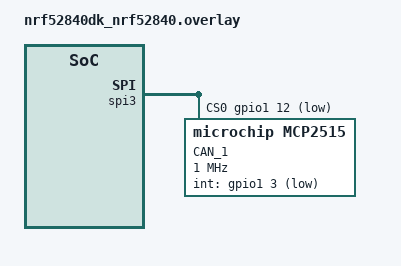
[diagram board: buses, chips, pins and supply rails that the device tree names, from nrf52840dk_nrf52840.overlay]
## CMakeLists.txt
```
#
# Copyright (c) 2019 Nordic Semiconductor ASA
#
# SPDX-License-Identifier: LicenseRef-BSD-5-Clause-Nordic
#
cmake_minimum_required(VERSION 3.8.2)

#Board selection
#set(BOARD nrf52840dk_nrf52840)
#set(BOARD nrf5340pdk_nrf5340_cpunet)
#set(BOARD nrf5340pdk_nrf5340_cpuapp)
set(BOARD nrf52840dongle_nrf52840)
#set(BOARD nrf52840dk_nrf52811)

find_package(Zephyr REQUIRED HINTS $ENV{ZEPHYR_BASE})
project(NONE)

# Include all files in folder src
FILE(GLOB app_sources_c src/*.c)
FILE(GLOB app_sources_cpp src/*.cpp)

target_sources(app PRIVATE
	${app_sources_c}
	${app_sources_cpp})
target_include_directories(app PRIVATE include)
```

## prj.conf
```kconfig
#
# Copyright (c) 2019 Nordic Semiconductor ASA
#
# SPDX-License-Identifier: LicenseRef-BSD-5-Clause-Nordic
#
CONFIG_NCS_SAMPLES_DEFAULTS=y

# General configuration
CONFIG_SYSTEM_WORKQUEUE_STACK_SIZE=4096
CONFIG_FLASH=y
CONFIG_FLASH_MAP=y
#CONFIG_FCB=y
CONFIG_NVS=y
CONFIG_SETTINGS=y
CONFIG_HWINFO=y
CONFIG_LOG=y
CONFIG_LOG_PRINTK=y

CONFIG_DK_LIBRARY=y
CONFIG_BT_MESH_DK_PROV=y

# Bluetooth configuration
CONFIG_BT=y
CONFIG_BT_COMPANY_ID=0x0059
CONFIG_BT_DEVICE_NAME="LWA203_Server"
CONFIG_BT_L2CAP_RX_MTU=69
CONFIG_BT_L2CAP_TX_MTU=69
CONFIG_BT_L2CAP_TX_BUF_COUNT=8
CONFIG_BT_LL_SW_SPLIT=y
CONFIG_BT_OBSERVER=y
CONFIG_BT_PERIPHERAL=y
CONFIG_BT_SETTINGS=y
CONFIG_BT_MAX_CONN=3

# Disable unused Bluetooth features
CONFIG_BT_CTLR_DUP_FILTER_LEN=0
CONFIG_BT_CTLR_LE_ENC=n
CONFIG_BT_DATA_LEN_UPDATE=n
CONFIG_BT_PHY_UPDATE=n
CONFIG_BT_CTLR_CHAN_SEL_2=n
CONFIG_BT_CTLR_MIN_USED_CHAN=n
CONFIG_BT_CTLR_PRIVACY=n

# Bluetooth Mesh configuration
CONFIG_BT_MESH=y
CONFIG_BT_MESH_RELAY=y
CONFIG_BT_MESH_FRIEND=y
CONFIG_BT_MESH_LOW_POWER=n
CONFIG_BT_MESH_LPN_AUTO=n
CONFIG_BT_MESH_LPN_AUTO_TIMEOUT=5
CONFIG_BT_MESH_ADV_BUF_COUNT=13
# Set it Higher because ca. 64 Properties send Segmented
CONFIG_BT_MESH_TX_SEG_MAX=12
CONFIG_BT_MESH_PB_GATT=y
CONFIG_BT_MESH_GATT_PROXY=y

# Bluetooth Mesh models
CONFIG_BT_MESH_SENSOR_SRV=y
CONFIG_BT_MESH_PROP_SRV=y
CONFIG_BT_MESH_PROP_MAXCOUNT=64
CONFIG_BT_MESH_PROP_MAXSIZE=8

# Enable SPI
CONFIG_SPI=y
CONFIG_SPI_INIT_PRIORITY=70
#CONFIG_SPI_LOG_LEVEL_INF=y
#CONFIG_SPI_3=y
#CONFIG_SPI_NRFX=y

#Enable MCP2515
CONFIG_CAN=y
CONFIG_CAN_LOG_LEVEL_INF=y
CONFIG_CAN_INIT_PRIORITY=80
#CONFIG_CAN_WORKQ_FRAMES_BUF_CNT=4
CONFIG_CAN_MCP2515=y
#CONFIG_CAN_MCP2515_INT_THREAD_STACK_SIZE=2048
#CONFIG_CAN_MCP2515_INT_THREAD_PRIO=2
#CONFIG_CAN_MCP2515_INIT_PRIORITY=80



# For NRF Dongle over SWD Flashing
CONFIG_BOARD_HAS_NRF5_BOOTLOADER=y
CONFIG_SERIAL=y
CONFIG_UART_CONSOLE=y
CONFIG_LOG_BACKEND_UART=y

# I2C SHT3xd Sensor
#CONFIG_STDOUT_CONSOLE=y
#CONFIG_I2C=y
CONFIG_NEWLIB_LIBC=y
CONFIG_NEWLIB_LIBC_FLOAT_PRINTF=y
#CONFIG_SENSOR=y
#CONFIG_SHT3XD=y

# Power Managment Device
#CONFIG_PM=y
#CONFIG_PM_DEEP_SLEEP_STATES=y
#CONFIG_PM_STATE_LOCK=y
#CONFIG_SERIAL=n
```

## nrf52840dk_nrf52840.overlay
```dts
&spi3 {
	status = "okay";
	cs-gpios = <&gpio1 12 GPIO_ACTIVE_LOW>; /* 1.12 */

	can1: mcp2515@0 {
		compatible = "microchip,mcp2515";
		spi-max-frequency = <1000000>;
		int-gpios = <&gpio1 3 GPIO_ACTIVE_LOW>; /* 1.03 */
		status = "okay";
		label = "CAN_1";
		reg = <0x0>;
		osc-freq = <8000000>;
		bus-speed = <20000>;
		sjw = <1>;
		prop-seg = <8>;
		phase-seg1 = <8>;
		phase-seg2 = <8>;
		#address-cells = <1>;
		#size-cells = <0>;
	};
};

/ {
	aliases {
		can-primary = &can1;
	};
};
```

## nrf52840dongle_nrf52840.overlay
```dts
&spi1 {

	sck-pin = <47>;
	mosi-pin = <2>;
	miso-pin = <29>;

	status = "okay";
	cs-gpios = <&gpio0 31 GPIO_ACTIVE_LOW>; /* 0.31 */

	can1: mcp2515@0 {
		compatible = "microchip,mcp2515";
		spi-max-frequency = <1000000>;
		int-gpios = <&gpio1 13 GPIO_ACTIVE_LOW>; /* 1.13 */
		status = "okay";
		label = "CAN_1";
		reg = <0x0>;
		osc-freq = <8000000>;
		bus-speed = <20000>;
		sjw = <1>;
		prop-seg = <8>;
		phase-seg1 = <8>;
		phase-seg2 = <8>;
		#address-cells = <1>;
		#size-cells = <0>;
	};
};

/ {
	aliases {
		can-primary = &can1;
	};
};
```

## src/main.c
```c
#include "bm_config.h"
#include "bm_blemesh.h"
#include "bm_simple_buttons_and_leds.h"
#include <zephyr.h>

/**@brief Function for application main entry.
 */
void main(void) {
  // Start Application
  printk("Starting Application...\n");
  // Init MAC Address
  uint32_t LSB_MAC_Address = NRF_FICR->DEVICEADDR[0];
  printk("Preprogrammed Randomly Static MAC-Address (LSB): 0x%x, %u \n", LSB_MAC_Address, LSB_MAC_Address);
  /* --------------- Init Board ------------*/
	printk("Init Buttons and LEDs...\n");
	bm_init_leds();
	printk("Buttons and LEDs initialized\n");



	/* ===================================*/

  // Start Mesh Operation
  bm_blemesh_enable(); // Will return faster than the Stack is realy ready... keep on waiting in the transition.

  bm_led0_set(true);

  k_sleep(K_MSEC(500));

  bm_led0_set(false);




}
```

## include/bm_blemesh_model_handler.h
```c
/*
This file is part of Bluetooth-Benchamrk.

Bluetooth-Benchamrk is free software: you can redistribute it and/or modify
it under the terms of the GNU General Public License as published by
the Free Software Foundation, either version 3 of the License, or
(at your option) any later version.

Bluetooth-Benchamrk is distributed in the hope that it will be useful,
but WITHOUT ANY WARRANTY; without even the implied warranty of
MERCHANTABILITY or FITNESS FOR A PARTICULAR PURPOSE.  See the
GNU General Public License for more details.

You should have received a copy of the GNU General Public License
along with Bluetooth-Benchamrk.  If not, see <http://www.gnu.org/licenses/>.
*/

/* AUTHOR 	 :    Raffael Anklin       */

#ifndef MODEL_HANDLER_H__
#define MODEL_HANDLER_H__

#include "bm_config.h"

#ifdef __cplusplus
extern "C" {
#endif



const struct bt_mesh_comp *bm_blemesh_model_handler_init(void);

void bm_can_init(void);


#ifdef __cplusplus
}
#endif

#endif /* MODEL_HANDLER_H__ */
```

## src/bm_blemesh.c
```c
/*
This file is part of Bluetooth-Benchamrk.

Bluetooth-Benchamrk is free software: you can redistribute it and/or modify
it under the terms of the GNU General Public License as published by
the Free Software Foundation, either version 3 of the License, or
(at your option) any later version.

Bluetooth-Benchamrk is distributed in the hope that it will be useful,
but WITHOUT ANY WARRANTY; without even the implied warranty of
MERCHANTABILITY or FITNESS FOR A PARTICULAR PURPOSE.  See the
GNU General Public License for more details.

You should have received a copy of the GNU General Public License
along with Bluetooth-Benchamrk.  If not, see <http://www.gnu.org/licenses/>.
*/

/* AUTHOR 	 :    Raffael Anklin       */

/* Pin Assigments: 

| Port.Pin 	| Description
|	P0.26	|	SCL I2C SHT3xd
|	P0.27	|	SDA I2C SHT3xd

*/


#include "bm_config.h"
#include <bluetooth/bluetooth.h>
#include <bluetooth/mesh/models.h>
#include <drivers/hwinfo.h>
#include "bm_blemesh_model_handler.h"
#include "bm_blemesh.h"
#include <bluetooth/mesh/main.h>
#include "bm_simple_buttons_and_leds.h"



static bool initialized=false; // Flag if the Stack is initialized

static void prov_complete(uint16_t net_idx, uint16_t src)
{
	printk("Prov complete! Addr: 0x%04x\n", src);
}

static void prov_reset(void)
{
	bt_mesh_prov_enable(BT_MESH_PROV_ADV | BT_MESH_PROV_GATT);
}

static int input(bt_mesh_input_action_t act, uint8_t size)
{
	printk("Press a button to set the right number.");
	return 0;
}

static void input_complete(void)
{
	printk("Input Complete");
}

static int output_number(bt_mesh_output_action_t action, uint32_t number)
{
	if (action == BT_MESH_DISPLAY_NUMBER) {
		printk("OOB Number: %u\n", number);
		return 0;
	}

	if (action == BT_MESH_BLINK) {
		printk("Blinking %u times", number);
		return 0;
	}

	return -ENOTSUP;
}

static int output_string(const char *string)
{
	printk("OOB String: %s\n", string);
	return 0;
}

static uint8_t dev_uuid[16];

static struct bt_mesh_prov prov = {
	.uuid = dev_uuid,
	.output_size = 1,
	.output_actions = (0),
	.output_number = output_number,
	.output_string = output_string,
	.input_size = 1,
	.input = input,
	.complete = prov_complete,
	.input_complete = input_complete,
	.reset = prov_reset
	};

// Init the rest while Bluetooth is enabled
static void bt_ready(int err){

	/* --------------- Init Mesh ------------*/
	printk("Init Mesh...\n");
	
	hwinfo_get_device_id(dev_uuid, sizeof(dev_uuid));
	// Do catch for nrf53 -> no HWINFO set (0xFFFF)
	if (dev_uuid[0] == 0xFF && dev_uuid[1] == 0xFF && dev_uuid[5] == 0xFF){
		uint8_t *p0 = (uint8_t*)&NRF_FICR->DEVICEADDR[0]; // Use MAC Address for UUID
		dev_uuid[0] = p0[0];
		dev_uuid[1] = p0[1];
		dev_uuid[2] = p0[2];
		dev_uuid[3] = p0[3];
		uint8_t *p1 = (uint8_t*)&NRF_FICR->DEVICEADDR[1]; // Use MAC Address for UUID
		dev_uuid[4] = p1[0];
		dev_uuid[5] = p1[1];
	}

	err = bt_mesh_init(&prov, bm_blemesh_model_handler_init());
	if (err)
	{
		printk("Initializing mesh failed (err %d)\n", err);
		return;
	}
	printk("Mesh initialized\n");
	/* ===================================*/

	/* ------------- Provisioning ------------*/
	printk("Provisioning...\n");
	if (IS_ENABLED(CONFIG_SETTINGS))
	{
		settings_load();
	}
	/* 
	err = bt_mesh_provision(net_key, net_idx, flags, iv_index, addr,
							dev_key);
	*/
	/* This will be a no-op if settings_load() loaded provisioning info */
	err = bt_mesh_prov_enable(BT_MESH_PROV_ADV | BT_MESH_PROV_GATT);
	if (err == -EALREADY)
	{
		printk("Already Provisioned (Restored Settings)\n");
	}
	else if (err)
	{
		printk("Provisioning failed (err %d)\n", err);
		return;
	}
	else
	{
		printk("Provisioning completed\n");
	}
	/* ===================================*/

	initialized = true;
}

void bm_blemesh_enable(void)
{
	int err;



	/* ---------- Init Bluetooth ---------- */
	printk("Enabling Bluetooth...\n");
	err = bt_enable(bt_ready);
	while (initialized == false){
		k_sleep(K_MSEC(10));
	}
	if (err)
	{
		printk("Bluetooth init failed (err %d)\n", err);
		return;
	} 
	printk("Bluetooth initialized\n");
	/* =====================================*/

	
	//bm_sleep(bm_rand_32 % 5000); // Sleep Random Time for LPN Activation
	/*
	bt_mesh_cfg_friend_set(net_idx,addr,false,&stat);
	printk("Err Code: %d\n", stat);
	bt_mesh_lpn_set(true); // Enable Low Power Node
	*/	
	printk("Configuring done\n");

	//bt_mesh_lpn_set(true); // Enable Low Power Node

	//bm_led0_set(true); // Signal that the Configuring was sucessfull
	/* ===================================*/	

	bm_can_init();

	//bt_mesh_reset();
}
```

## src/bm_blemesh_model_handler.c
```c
/*
This file is part of Bluetooth-Benchamrk.

Bluetooth-Benchamrk is free software: you can redistribute it and/or modify
it under the terms of the GNU General Public License as published by
the Free Software Foundation, either version 3 of the License, or
(at your option) any later version.

Bluetooth-Benchamrk is distributed in the hope that it will be useful,
but WITHOUT ANY WARRANTY; without even the implied warranty of
MERCHANTABILITY or FITNESS FOR A PARTICULAR PURPOSE.  See the
GNU General Public License for more details.

You should have received a copy of the GNU General Public License
along with Bluetooth-Benchamrk.  If not, see <http://www.gnu.org/licenses/>.
*/

/* AUTHOR 	 :    Raffael Anklin       */

/* Pin Assigments: 

| Port.Pin 	| Description
|	P1.10	|	Switch ON/OFF
|	P1.13	|	Signal from Host (1=ON/0=OFF)
|	P1.15	|	Switch Pulse from Host (1s High for Active Switching)

*/

#include "bm_config.h"
#include "bm_simple_buttons_and_leds.h"
#include "bm_blemesh.h"
#include "bm_blemesh_model_handler.h"

#include <bluetooth/bluetooth.h>
#include <bluetooth/mesh/models.h>
#include <bluetooth/mesh/model_types.h>

#include <device.h>
#include <drivers/can.h>

#include <stdio.h>

const struct device *can_dev;
struct can_timing timing;
int filter_id;
struct bt_mesh_prop_val *buf_prop_val;

const struct zcan_filter my_filter = {
	.id_type = CAN_STANDARD_IDENTIFIER,
	.rtr = CAN_DATAFRAME,
	.id = 0x0, // REceive All
	.rtr_mask = 1,
	.id_mask = 0x0 //Receive all
};

K_SEM_DEFINE(prop_get_sem, 0, 1);
K_SEM_DEFINE(prop_set_sem, 0, 1);

/** Health Server definition */
static void attention_on(struct bt_mesh_model *model)
{
	printk("attention_on()\n");
}

static void attention_off(struct bt_mesh_model *model)
{
	printk("attention_off()\n");
}
static const struct bt_mesh_health_srv_cb health_srv_cb = {
	.attn_on = attention_on,
	.attn_off = attention_off,
};

static struct bt_mesh_health_srv health_srv = {
	.cb = &health_srv_cb,
};

BT_MESH_HEALTH_PUB_DEFINE(health_pub, 0);

/* -------------------- CAN Stuff --------------------------------------- */

void state_change_callback_function(enum can_state state, struct can_bus_err_cnt err_cnt)
{
	printk("State Change ISR\nstate: %u\n"
		   "rx error count: %d\n"
		   "tx error count: %d\n",
		   state,
		   err_cnt.rx_err_cnt, err_cnt.tx_err_cnt);
	if (state == CAN_ERROR_ACTIVE)
	{
		bm_led1_set(false);
	} else {
		bm_led1_set(true);
	}
	
}

/* -------------------- CAN Receive Stuff --------------------------------------- */

void rx_callback_function(struct zcan_frame *frame, void *arg)
{

	//struct bt_mesh_prop_val *prop_val = arg;

	/*
	printk("%02x ", frame->id);
	printk("%02x ", frame->data[0]);
	printk("%02x ", frame->data[1]);
	printk("%02x ", frame->data[2]);
	printk("%02x ", frame->data[3]);
	printk("%02x ", frame->data[4]);
	printk("%02x ", frame->data[5]);
	printk("%02x\n", frame->data[6]);
	*/

	uint16_t id = frame->data[4] | (frame->data[3] << 8);

	if (buf_prop_val->meta.id == id)
	{
		buf_prop_val->value[0] = frame->data[6];
		buf_prop_val->value[1] = frame->data[5];
	}
}

/* -------------------- CAN SEND Stuff --------------------------------------- */

void tx_irq_callback(uint32_t error_flags, void *arg)
{
	char *sender = (char *)arg;

	if (error_flags)
	{
		printk("Sendig failed [%d]\nSender: %s\n", error_flags, sender);
	}

	printk("Sent :)\n");
}

void get_elsterid_canbus(struct bt_mesh_prop_val *prop_val)
{
	// Wait until CAN Bus is Free
	bm_led3_set(true);
	if(k_sem_take(&prop_get_sem, K_MSEC(1500)) != 0){
		k_sem_reset(&prop_get_sem);
	}

	struct zcan_frame frame = {
		.id_type = CAN_STANDARD_IDENTIFIER,
		.rtr = CAN_DATAFRAME,
		.id = 0x680,
		.dlc = 5};

	frame.data[0] = 0x31;
	frame.data[1] = 0x0;
	frame.data[2] = 0xFA;
	frame.data[3] = (uint8_t)(prop_val->meta.id >> 8);
	frame.data[4] = (uint8_t)prop_val->meta.id & 0xff;

	// Setting the Pointer to the correct Buffer Value
	buf_prop_val = prop_val;

	printk("Sending...\n");	
	
	can_send(can_dev, &frame, K_MSEC(1000), NULL, NULL);
	// Wait until CAN Bus Received Value
	k_sleep(K_MSEC(1000));
	k_sem_give(&prop_get_sem);
	bm_led3_set(false);
}

void set_elsterid_canbus(struct bt_mesh_prop_val *prop_val)
{
	struct zcan_frame frame = {
		.id_type = CAN_STANDARD_IDENTIFIER,
		.rtr = CAN_DATAFRAME,
		.id = 0x680,
		.dlc = 7};

	frame.data[0] = 0x32;
	frame.data[1] = 0x00;
	frame.data[2] = 0xFA;
	frame.data[3] = (uint8_t)(prop_val->meta.id >> 8);
	frame.data[4] = (uint8_t)prop_val->meta.id & 0xff;
	frame.data[5] = prop_val->value[0];
	frame.data[6] = prop_val->value[1];
	printk("Sending...\n");
	can_send(can_dev, &frame, K_MSEC(1000), NULL,NULL);
	k_sem_give(&prop_set_sem);
}

/* -------------------- CAN Init Stuff --------------------------------------- */ 

void bm_can_init()
{

	// Init CAN Device
	k_sleep(K_MSEC(3000));

	can_dev = device_get_binding("CAN_1");

	k_sleep(K_MSEC(500));

	printk("1");

	filter_id = can_attach_isr(can_dev, rx_callback_function, NULL, &my_filter);
	if (filter_id < 0)
	{
		printk("Unable to attach isr [%d]", filter_id);
	}

	printk("2");

	k_sleep(K_MSEC(500));

	can_register_state_change_isr(can_dev, state_change_callback_function);

	timing.phase_seg1 = 0x8;
	timing.phase_seg2 = 0x8;
	timing.sjw = 0x1;
	timing.prescaler = 0x7; // Choose this prescaler
	timing.prop_seg = 0x8;

	k_sleep(K_MSEC(500));

	printk("3");

	can_set_timing(can_dev, &timing, &timing);

	k_sleep(K_MSEC(500));

	printk("4");

	can_set_mode(can_dev, CAN_NORMAL_MODE);

	k_sleep(K_MSEC(500));

	printk("5");

	//bm_init_buttons(get_elsterid_canbus(0x000c));
}




/* -------------------- Properties Server Stuff --------------------------------------- */ 

struct bt_mesh_prop props[CONFIG_BT_MESH_PROP_MAXCOUNT];
struct bt_mesh_prop_val propsval[CONFIG_BT_MESH_PROP_MAXCOUNT];
uint16_t values_16[CONFIG_BT_MESH_PROP_MAXCOUNT];

static void get(struct bt_mesh_prop_srv *srv, struct bt_mesh_msg_ctx *ctx, struct bt_mesh_prop_val *val)
{
	get_elsterid_canbus(val);
}

static void set(struct bt_mesh_prop_srv *srv, struct bt_mesh_msg_ctx *ctx, struct bt_mesh_prop_val *val)
{
	
	set_elsterid_canbus(val);
	k_sem_take(&prop_set_sem, K_MSEC(1500));
}

static struct bt_mesh_prop_srv prop_srv_adm = BT_MESH_PROP_SRV_ADMIN_INIT(props, get, set);

/* -------------------- Sensor Server Stuff ---------------------------*/

void doubleToSensorValue(double d, struct sensor_value *val)
{
	val->val1 = (int)d;
	val->val2 = (d - val->val1) * 1000000;
}

static int outsidetemp_get(struct bt_mesh_sensor *sensor,
					struct bt_mesh_msg_ctx *ctx, struct sensor_value *rsp)
{
	get_elsterid_canbus(&propsval[1]);
	uint16_t temp = propsval[1].value[0] | (propsval[1].value[1] << 8);
	doubleToSensorValue((double)temp / 10, rsp);
	return 0;
}

static int speicheristtemp_get(struct bt_mesh_sensor *sensor,
					struct bt_mesh_msg_ctx *ctx, struct sensor_value *rsp)
{
	get_elsterid_canbus(&propsval[2]);
	uint16_t temp = propsval[2].value[0] | (propsval[2].value[1] << 8);
	doubleToSensorValue((double)temp / 10, rsp);
	return 0;
}

static int speichersoll_get(struct bt_mesh_sensor *sensor,
					struct bt_mesh_msg_ctx *ctx, struct sensor_value *rsp)
{
	get_elsterid_canbus(&propsval[7]);
	uint16_t temp = propsval[7].value[0] | (propsval[7].value[1] << 8);
	doubleToSensorValue((double)temp/10, rsp);
	return 0;
}

static int vorlaufisttemp_get(struct bt_mesh_sensor *sensor,
					struct bt_mesh_msg_ctx *ctx, struct sensor_value *rsp)
{
	get_elsterid_canbus(&propsval[10]);
	uint16_t temp = propsval[10].value[0] | (propsval[10].value[1] << 8);
	doubleToSensorValue((double)temp / 10, rsp);
	return 0;
}

static int verdampfertemp_get(struct bt_mesh_sensor *sensor,
					struct bt_mesh_msg_ctx *ctx, struct sensor_value *rsp)
{
	get_elsterid_canbus(&propsval[14]);
	uint16_t temp = propsval[14].value[0] | (propsval[14].value[1] << 8);
	doubleToSensorValue((double)temp / 10, rsp);
	return 0;
}

static int vorlaufsolltemp_get(struct bt_mesh_sensor *sensor,
					struct bt_mesh_msg_ctx *ctx, struct sensor_value *rsp)
{
	get_elsterid_canbus(&propsval[15]);
	uint16_t temp = propsval[15].value[0] | (propsval[15].value[1] << 8);
	doubleToSensorValue((double)temp/10, rsp);
	return 0;
}

static struct bt_mesh_sensor outsidetemp = {
	.type = &bt_mesh_sensor_present_dev_op_temp,
	.get = outsidetemp_get,
};

static struct bt_mesh_sensor speicheristtemp = {
	.type = &bt_mesh_sensor_present_dev_op_temp,
	.get = speicheristtemp_get,
};

static struct bt_mesh_sensor speichersolltemp = {
	.type = &bt_mesh_sensor_present_dev_op_temp,
	.get = speichersoll_get,
};

static struct bt_mesh_sensor vorlaufisttemp = {
	.type = &bt_mesh_sensor_present_dev_op_temp,
	.get = vorlaufisttemp_get,
};

static struct bt_mesh_sensor verdampfertemp = {
	.type = &bt_mesh_sensor_present_dev_op_temp,
	.get = verdampfertemp_get,
};

static struct bt_mesh_sensor vorlaufsolltemp = {
	.type = &bt_mesh_sensor_present_dev_op_temp,
	.get = vorlaufsolltemp_get,
};

static struct bt_mesh_sensor *const outsidetemp_sensors[] = {&outsidetemp};
static struct bt_mesh_sensor_srv outsidetemp_sensor_srv = BT_MESH_SENSOR_SRV_INIT(outsidetemp_sensors, ARRAY_SIZE(outsidetemp_sensors));

static struct bt_mesh_sensor *const speicheristtemp_sensors[] = {&speicheristtemp};
static struct bt_mesh_sensor_srv speicheristtemp_sensor_srv = BT_MESH_SENSOR_SRV_INIT(speicheristtemp_sensors, ARRAY_SIZE(speicheristtemp_sensors));

static struct bt_mesh_sensor *const speichersolltemp_sensors[] = {&speichersolltemp};
static struct bt_mesh_sensor_srv speichersolltemp_sensor_srv = BT_MESH_SENSOR_SRV_INIT(speichersolltemp_sensors, ARRAY_SIZE(speichersolltemp_sensors));

static struct bt_mesh_sensor *const vorlaufisttemp_sensors[] = {&vorlaufisttemp};
static struct bt_mesh_sensor_srv vorlaufisttemp_sensor_srv = BT_MESH_SENSOR_SRV_INIT(vorlaufisttemp_sensors, ARRAY_SIZE(vorlaufisttemp_sensors));

static struct bt_mesh_sensor *const verdampfertemp_sensors[] = {&verdampfertemp};
static struct bt_mesh_sensor_srv verdampfertemp_sensor_srv = BT_MESH_SENSOR_SRV_INIT(verdampfertemp_sensors, ARRAY_SIZE(verdampfertemp_sensors));

static struct bt_mesh_sensor *const vorlaufsolltemp_sensors[] = {&vorlaufsolltemp};
static struct bt_mesh_sensor_srv vorlaufsolltemp_sensor_srv = BT_MESH_SENSOR_SRV_INIT(vorlaufsolltemp_sensors, ARRAY_SIZE(vorlaufsolltemp_sensors));

/* -------------------- Composition Stuff ---------------------------*/


/* Define all Elements */
static struct bt_mesh_elem elements[] = {
	BT_MESH_ELEM(
		1, BT_MESH_MODEL_LIST(BT_MESH_MODEL_CFG_SRV, BT_MESH_MODEL_HEALTH_SRV(&health_srv, &health_pub), BT_MESH_MODEL_PROP_SRV_ADMIN(&prop_srv_adm), BT_MESH_MODEL_SENSOR_SRV(&outsidetemp_sensor_srv)),
		BT_MESH_MODEL_NONE),
		BT_MESH_ELEM(
		2, BT_MESH_MODEL_LIST(BT_MESH_MODEL_SENSOR_SRV(&speicheristtemp_sensor_srv)),
		BT_MESH_MODEL_NONE),
		BT_MESH_ELEM(
		3, BT_MESH_MODEL_LIST(BT_MESH_MODEL_SENSOR_SRV(&speichersolltemp_sensor_srv)),
		BT_MESH_MODEL_NONE),
		BT_MESH_ELEM(
		4, BT_MESH_MODEL_LIST(BT_MESH_MODEL_SENSOR_SRV(&vorlaufisttemp_sensor_srv)),
		BT_MESH_MODEL_NONE),
		BT_MESH_ELEM(
		5, BT_MESH_MODEL_LIST(BT_MESH_MODEL_SENSOR_SRV(&verdampfertemp_sensor_srv)),
		BT_MESH_MODEL_NONE),
		BT_MESH_ELEM(
		6, BT_MESH_MODEL_LIST(BT_MESH_MODEL_SENSOR_SRV(&vorlaufsolltemp_sensor_srv)),
		BT_MESH_MODEL_NONE)};

/* Create Composition */
static const struct bt_mesh_comp comp = {
	.cid = CONFIG_BT_COMPANY_ID,
	.elem = elements,
	.elem_count = ARRAY_SIZE(elements),
};



const struct bt_mesh_comp *bm_blemesh_model_handler_init(void)
{
	// Init the Properties
	props[0].id = 0x0003;
	props[0].user_access = BT_MESH_PROP_ACCESS_READ; // Speichersolltemp
	props[1].id = 0x000c;
	props[1].user_access = BT_MESH_PROP_ACCESS_READ; // Aussentemp
	props[2].id = 0x000e;
	props[2].user_access = BT_MESH_PROP_ACCESS_READ; // Speicheristtemp
	props[3].id = 0x0013;
	props[3].user_access = BT_MESH_PROP_ACCESS_READ_WRITE; // EINSTELL_SPEICHERSOLLTEMP
	props[4].id = 0x0022;
	props[4].user_access = BT_MESH_PROP_ACCESS_READ_WRITE; // HYSTERESEZEIT
	props[5].id = 0x010e;
	props[5].user_access = BT_MESH_PROP_ACCESS_READ_WRITE; // HEIZKURVE
	props[6].id = 0x0112;
	props[6].user_access = BT_MESH_PROP_ACCESS_READ_WRITE; // PROGRAMMSCHALTER
	props[7].id = 0x0003;
	props[7].user_access = BT_MESH_PROP_ACCESS_READ_WRITE; // SPEICHERSOLLTEMP
	props[8].id = 0x01c4;
	props[8].user_access = BT_MESH_PROP_ACCESS_READ; //  LAUFZEIT_WP1
	props[9].id = 0x01c5;
	props[9].user_access = BT_MESH_PROP_ACCESS_READ; // LAUFZEIT_WP2
	props[10].id = 0x01d6;
	props[10].user_access = BT_MESH_PROP_ACCESS_READ; // WPVORLAUFIST
	props[11].id = 0x0259;
	props[11].user_access = BT_MESH_PROP_ACCESS_READ; // LAUFZEIT_DHC1
	props[12].id = 0x025a;
	props[12].user_access = BT_MESH_PROP_ACCESS_READ; // LAUFZEIT_DHC2
	props[13].id = 0x0331;
	props[13].user_access = BT_MESH_PROP_ACCESS_READ; // WARTEZEIT_DHC
	props[14].id = 0x0333;
	props[14].user_access = BT_MESH_PROP_ACCESS_READ; // Verdampfertemp
	props[15].id = 0x01bf;
	props[15].user_access = BT_MESH_PROP_ACCESS_READ; // Vorlaufsolltemp
	// Init the Properties Values
	propsval[0].meta = props[0];
	propsval[0].size = 2;
	propsval[0].value = (uint8_t *)&values_16[0];
	propsval[1].meta = props[1];
	propsval[1].size = 2;
	propsval[1].value = (uint8_t *)&values_16[1];
	propsval[2].meta = props[2];
	propsval[2].size = 2;
	propsval[2].value = (uint8_t *)&values_16[2];
	propsval[3].meta = props[3];
	propsval[3].size = 2;
	propsval[3].value = (uint8_t *)&values_16[3];
	propsval[4].meta = props[4];
	propsval[4].size = 2;
	propsval[4].value = (uint8_t *)&values_16[4];
	propsval[5].meta = props[5];
	propsval[5].size = 2;
	propsval[5].value = (uint8_t *)&values_16[5];
	propsval[6].meta = props[6];
	propsval[6].size = 2;
	propsval[6].value = (uint8_t *)&values_16[6];
	propsval[7].meta = props[7];
	propsval[7].size = 2;
	propsval[7].value = (uint8_t *)&values_16[7];
	propsval[8].meta = props[8];
	propsval[8].size = 2;
	propsval[8].value = (uint8_t *)&values_16[8];
	propsval[9].meta = props[9];
	propsval[9].size = 2;
	propsval[9].value = (uint8_t *)&values_16[9];
	propsval[10].meta = props[10];
	propsval[10].size = 2;
	propsval[10].value = (uint8_t *)&values_16[10];
	propsval[11].meta = props[11];
	propsval[11].size = 2;
	propsval[11].value = (uint8_t *)&values_16[11];
	propsval[12].meta = props[12];
	propsval[12].size = 2;
	propsval[12].value = (uint8_t *)&values_16[12];
	propsval[13].meta = props[13];
	propsval[13].size = 2;
	propsval[13].value = (uint8_t *)&values_16[13];
	propsval[14].meta = props[14];
	propsval[14].size = 2;
	propsval[14].value = (uint8_t *)&values_16[14];
	propsval[15].meta = props[15];
	propsval[15].size = 2;
	propsval[15].value = (uint8_t *)&values_16[15];
	k_sem_reset(&prop_get_sem);
	k_sem_reset(&prop_set_sem);

	// Init the Publisher Worker
	//k_delayed_work_init(&publicita_work, publicita);
	// Submit the Worker
	//k_delayed_work_submit(&publicita_work, K_MSEC(5000));


	return &comp;
}
```
